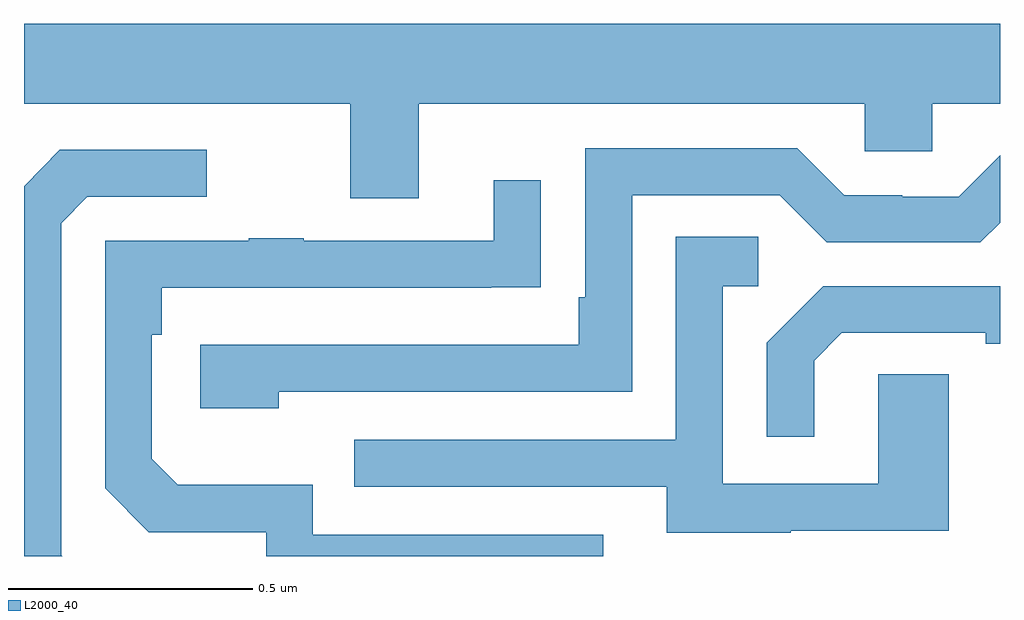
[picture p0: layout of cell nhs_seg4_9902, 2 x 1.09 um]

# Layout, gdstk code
import gdstk
lib = gdstk.Library(unit=1e-6, precision=1e-09)
def P(c, l, *ps):  # polygons
    for p in ps: c.add(gdstk.Polygon(p, *l))
L2000_40 = (2000, 40)

nhs_seg4_9902 = lib.new_cell('nhs_seg4_9902')
P(nhs_seg4_9902, L2000_40, [(233.809,788.828),(234.723,788.828),(234.723,788.73),(234.861,788.73),(234.861,788.828),(235,788.828),(235,788.992),(233,788.992),(233,788.828),(233.669,788.828),(233.669,788.634),(233.809,788.634)],
  [(233.522,788.238),(234.246,788.238),(234.246,788.64),(234.549,788.64),(234.645,788.544),(234.96,788.544),(235,788.584),(235,788.722),(234.915,788.637),(234.8,788.637),(234.8,788.64),(234.681,788.64),(234.585,788.736),(234.15,788.736),(234.15,788.431),(234.137,788.431),(234.137,788.334),(233.361,788.334),(233.361,788.204),(233.522,788.204)],
  [(233.076,787.902),(233.076,788.583),(233.13,788.637),(233.374,788.637),(233.374,788.733),(233.073,788.733),(233,788.659),(233,787.9),(233.078,787.9)],
  [(234.187,787.944),(233.592,787.944),(233.592,788.047),(233.315,788.047),(233.262,788.1),(233.262,788.354),(233.282,788.354),(233.282,788.451),(233.957,788.451),(233.957,788.452),(234.059,788.452),(234.059,788.671),(233.963,788.671),(233.963,788.547),(233.573,788.547),(233.573,788.552),(233.461,788.552),(233.461,788.547),(233.166,788.547),(233.166,788.04),(233.256,787.95),(233.496,787.95),(233.496,787.9),(234.187,787.9)],
  [(234.571,787.953),(234.895,787.953),(234.895,788.273),(234.75,788.273),(234.75,788.049),(234.432,788.049),(234.432,788.454),(234.505,788.454),(234.505,788.555),(234.336,788.555),(234.336,788.139),(233.677,788.139),(233.677,788.043),(234.317,788.043),(234.317,787.949),(234.571,787.949)],
  [(234.619,788.301),(234.676,788.358),(234.971,788.358),(234.971,788.336),(235,788.336),(235,788.454),(234.638,788.454),(234.522,788.338),(234.522,788.145),(234.619,788.145)])

lib.write_gds('nhs_seg4_9902.gds')
